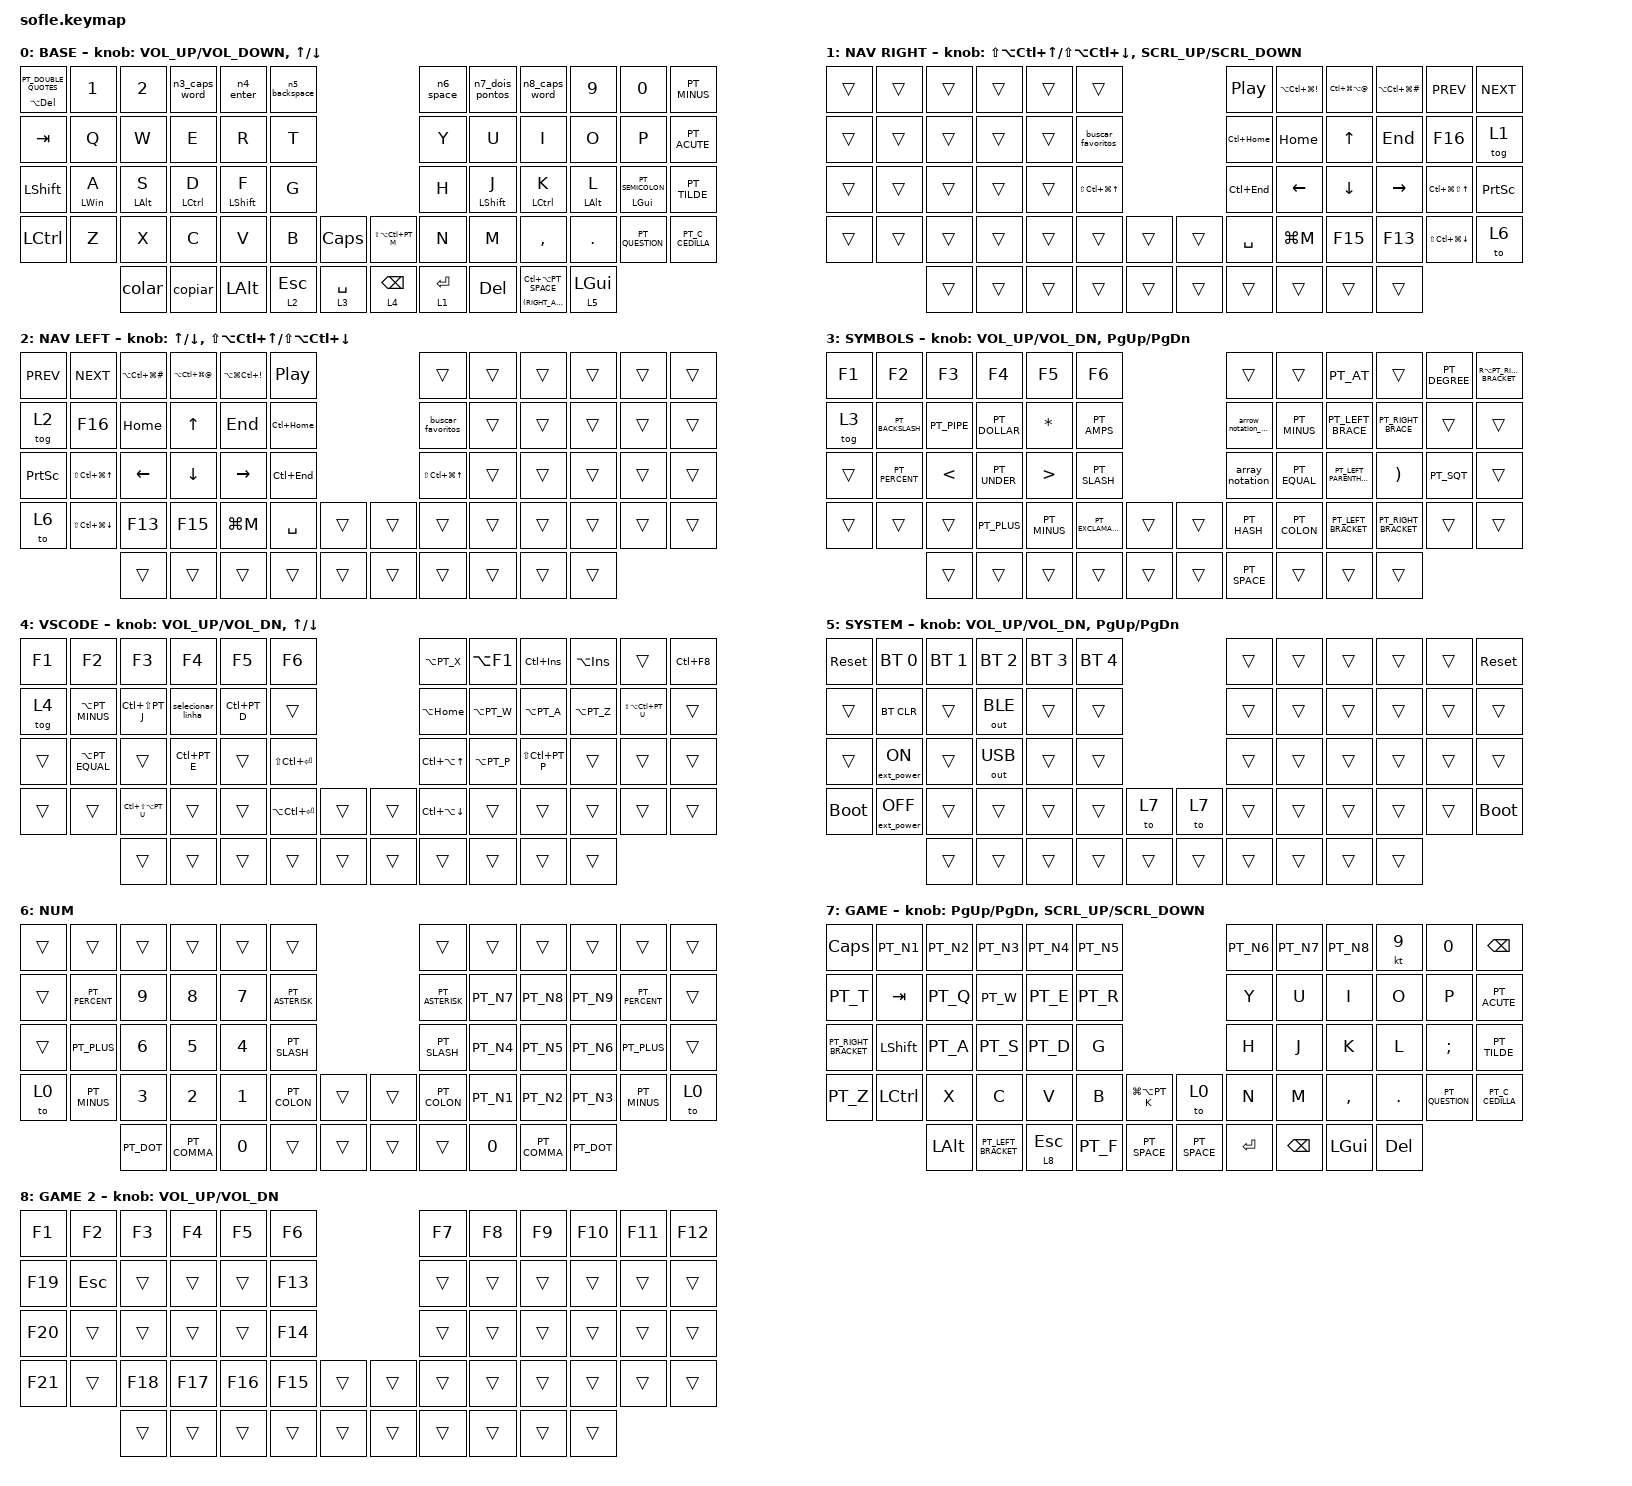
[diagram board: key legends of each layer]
#define ZMK_POINTING_DEFAULT_SCRL_VAL 100

#include <behaviors.dtsi>
#include <dt-bindings/zmk/bt.h>
#include <dt-bindings/zmk/ext_power.h>
#include <dt-bindings/zmk/keys.h>
#include <dt-bindings/zmk/outputs.h>
#include <dt-bindings/zmk/pointing.h>
#include "keys_pt_abnt2.h"

&caps_word {
    continue-list = <
        UNDERSCORE
        BACKSPACE
        DELETE
        MINUS
        SLASH
        SEMICOLON
    >;
};

#define BASE       0
#define NAV_RIGHT  1
#define NAV_LEFT   2
#define SYMBOLS    3
#define VSCODE_OS  4
#define SYSTEM     5
#define NUM        6
#define GAME       7
#define GAME_2     8

/ {
    combos {
        compatible = "zmk,combos";

        combo_studio_unlock {
            timeout-ms = <50>;
            key-positions = <0 11>;
            bindings = <&studio_unlock>;
        };
    };

    macros {
        arrow_notation_php: arrow_dot_php {
            compatible = "zmk,behavior-macro";
            #binding-cells = <0>;
            bindings = <&kp PT_MINUS &kp PT_GREATER_THAN>;
            label = "ARROW_DOT_PHP";
        };

        array_notation: array {
            compatible = "zmk,behavior-macro";
            #binding-cells = <0>;
            bindings = <&kp PT_EQUAL &kp PT_GREATER_THAN>;
            label = "ARRAY";
        };

        buscar_favoritos: buscar_favoritos {
            compatible = "zmk,behavior-macro";
            #binding-cells = <0>;
            bindings = <&kp LC(PT_T) &kp PT_ASTERISK &kp SPACE>;
            label = "BUSCAR_FAVORITOS";
        };

        selecionar_linha: selecionar_linha {
            compatible = "zmk,behavior-macro";
            #binding-cells = <0>;
            bindings = <&kp HOME &kp LS(END)>;
            label = "SELECIONAR_LINHA";
        };
    };

    behaviors {
        copiar: copiar {
            compatible = "zmk,behavior-tap-dance";
            label = "COPIAR";
            #binding-cells = <0>;
            bindings = <&kp LC(PT_C)>, <&kp LC(LS(PT_C))>;

            tapping-term-ms = <300>;
        };

        lt_c: layer_tap_custom {
            compatible = "zmk,behavior-hold-tap";
            label = "LAYER_TAP_CUSTOM";
            #binding-cells = <2>;
            tapping-term-ms = <300>;
            quick-tap-ms = <150>;
            flavor = "balanced";
            bindings = <&mo>, <&kp>;
        };

        hm: homerow_mods {
            compatible = "zmk,behavior-hold-tap";
            label = "HOMEROW_MODS";
            #binding-cells = <2>;
            tapping-term-ms = <240>;
            quick-tap-ms = <150>;
            require-prior-idle-ms = <125>;
            flavor = "tap-preferred";
            bindings = <&kp>, <&kp>;
        };

        hml: homerow_mods_left {
            compatible = "zmk,behavior-hold-tap";
            #binding-cells = <2>;
            bindings = <&kp>, <&kp>;

            flavor = "balanced";
            tapping-term-ms = <260>;
            quick-tap-ms = <175>;
            require-prior-idle-ms = <100>;
            hold-trigger-key-positions = <
                 6  7  8  9 10 11
                18 19 20 21 22 23
                30 31 32 33 34 35
                43 44 45 46 47 48 49
                55 56 57 58 59
            >;

            hold-trigger-on-release;
        };

        hmr: homerow_mods_right {
            compatible = "zmk,behavior-hold-tap";
            #binding-cells = <2>;
            bindings = <&kp>, <&kp>;

            flavor = "balanced";
            tapping-term-ms = <260>;
            quick-tap-ms = <175>;
            require-prior-idle-ms = <100>;
            hold-trigger-key-positions = <
                 0  1  2  3  4  5
                12 13 14 15 16 17
                24 25 26 27 28 29
                36 37 38 39 40 41 42
                50 51 52 53 54
            >;

            hold-trigger-on-release;
        };

        hold_tap: hold_tap {
            compatible = "zmk,behavior-hold-tap";
            label = "HOLD_TAP";
            bindings = <&kp>, <&kp>;

            #binding-cells = <2>;
            tapping-term-ms = <250>;
            quick-tap-ms = <150>;
            require-prior-idle-ms = <125>;
            flavor = "tap-preferred";
        };

        colar: colar {
            compatible = "zmk,behavior-tap-dance";
            label = "COLAR";
            #binding-cells = <0>;
            bindings = <&kp LC(PT_V)>, <&kp LC(LS(PT_V))>;

            tapping-term-ms = <300>;
        };

        n7_dois_pontos: n7_dois_pontos {
            compatible = "zmk,behavior-tap-dance";
            label = "N7_DOIS_PONTOS";
            #binding-cells = <0>;
            bindings = <&kp N7>, <&kp PT_COLON>;
        };

        altgr_tap: altgr_tap {
            compatible = "zmk,behavior-hold-tap";
            #binding-cells = <2>;
            flavor = "hold-preferred";
            tapping-term-ms = <200>;
            quick-tap-ms = <0>;
            bindings = <&kp>, <&kp>;
        };

        tap_hold_caps_word: tap_hold_caps_word {
            compatible = "zmk,behavior-hold-tap";
            label = "TAP_HOLD_CAPS_WORD";
            bindings = <&caps_word>, <&kp>;

            #binding-cells = <2>;
            tapping-term-ms = <210>;
            quick-tap-ms = <175>;
            require-prior-idle-ms = <130>;
            flavor = "tap-preferred";
        };

        inc_dec_msc: inc_dec_msc {
            compatible = "zmk,behavior-sensor-rotate-var";
            #sensor-binding-cells = <2>;
            bindings = <&msc>, <&msc>;

            tap-ms = <20>;
        };

        n4_enter: n4_enter {
            compatible = "zmk,behavior-tap-dance";
            label = "N4_ENTER";
            #binding-cells = <0>;
            bindings = <&kp N4>, <&kp ENTER>;
        };

        n6_space: n6_space {
            compatible = "zmk,behavior-tap-dance";
            label = "N6_SPACE";
            #binding-cells = <0>;
            bindings = <&kp N6>, <&kp SPACE>;
        };

        n3_caps_word: n3_caps_word {
            compatible = "zmk,behavior-tap-dance";
            #binding-cells = <0>;
            tapping-term-ms = <200>;
            bindings = <&kp N3>, <&caps_word>;
        };

        n8_caps_word: n8_caps_word {
            compatible = "zmk,behavior-tap-dance";
            #binding-cells = <0>;
            tapping-term-ms = <200>;
            bindings = <&kp N8>, <&caps_word>;
        };

        n5_backspace: n5_backspace {
            compatible = "zmk,behavior-tap-dance";
            label = "N5_BACKSPACE";
            #binding-cells = <0>;
            bindings = <&kp N5>, <&kp BACKSPACE>;
        };
    };

    keymap {
        compatible = "zmk,keymap";

        default_layer {
            display-name = "BASE";

            // LAYER 0: BASE com Home Row Mods
            // Mão Esquerda (Segurar): A=Super, S=Alt, D=Ctrl, F=Shift
            // Mão Direita (Segurar): J=Shift, K=Ctrl, L=Alt, ;=Super

            bindings = <
&hold_tap LA(DELETE) PT_DOUBLE_QUOTES  &kp N1       &kp N2       &n3_caps_word  &n4_enter      &n5_backspace                                        &n6_space    &n7_dois_pontos    &n8_caps_word                            &kp N9           &kp N0                  &kp PT_MINUS
&kp TAB                                &kp Q        &kp W        &kp E          &kp R          &kp T                                                &kp Y        &kp U              &kp I                                    &kp O            &kp P                   &kp PT_ACUTE
&kp LEFT_SHIFT                         &hml LWIN A  &hml LALT S  &hml LCTRL D   &hml LSHIFT F  &kp G                                                &kp H        &hmr LEFT_SHIFT J  &hmr LCTRL K                             &hmr LEFT_ALT L  &hmr LGUI PT_SEMICOLON  &kp PT_TILDE
&kp LEFT_CONTROL                       &kp Z        &kp X        &kp C          &kp V          &kp B          &kp CAPSLOCK    &kp LS(LA(LC(PT_M)))  &kp N        &kp M              &kp COMMA                                &kp DOT          &kp PT_QUESTION         &kp PT_C_CEDILLA
                                                    &colar       &copiar        &kp LEFT_ALT   &lt 2 ESC      &lt 3 SPACE     &lt 4 BACKSPACE       &lt 1 ENTER  &kp DELETE         &altgr_tap (RIGHT_ALT) LC(LA(PT_SPACE))  &lt 5 LEFT_GUI
            >;

            sensor-bindings =
                <&inc_dec_kp K_VOL_UP K_VOLUME_DOWN>,
                <&inc_dec_kp UP DOWN>;
        };

        nav_right {
            display-name = "NAV RIGHT";
            label = "NAV RIGHT";
            bindings = <
&trans  &trans  &trans  &trans  &trans  &trans                                &kp C_PLAY_PAUSE  &kp LA(LC(LG(EXCLAMATION)))  &kp LC(LG(LA(AT_SIGN)))  &kp LA(LC(LG(POUND)))  &kp C_PREV            &kp C_NEXT
&trans  &trans  &trans  &trans  &trans  &buscar_favoritos                     &kp LC(HOME)      &kp HOME                     &kp UP                   &kp END                &kp F16               &tog 1
&trans  &trans  &trans  &trans  &trans  &kp LS(LC(LG(UP)))                    &kp LC(END)       &kp LEFT_ARROW               &kp DOWN                 &kp RIGHT              &kp LC(LG(LS(UP)))    &kp PRINTSCREEN
&trans  &trans  &trans  &trans  &trans  &trans              &trans    &trans  &kp SPACE         &kp LG(M)                    &kp F15                  &kp F13                &kp LS(LC(LG(DOWN)))  &to 6
                &trans  &trans  &trans  &trans              &trans    &trans  &trans            &trans                       &trans                   &trans
            >;

            sensor-bindings =
                <&inc_dec_kp LS(LA(LC(UP))) LS(LA(LC(DOWN)))>,
                <&inc_dec_msc SCRL_UP SCRL_DOWN>;
        };

        nav_left {
            display-name = "NAV LEFT";
            label = "NAV LEFT";
            bindings = <
&kp C_PREV       &kp C_NEXT            &kp LA(LC(LG(POUND)))  &kp LA(LC(LG(AT_SIGN)))  &kp LA(LG(LC(EXCLAMATION)))  &kp C_PP                        &trans              &trans  &trans  &trans  &trans  &trans
&tog 2           &kp F16               &kp HOME               &kp UP                   &kp END                      &kp LC(HOME)                    &buscar_favoritos   &trans  &trans  &trans  &trans  &trans
&kp PRINTSCREEN  &kp LS(LC(LG(UP)))    &kp LEFT               &kp DOWN                 &kp RIGHT                    &kp LC(END)                     &kp LS(LC(LG(UP)))  &trans  &trans  &trans  &trans  &trans
&to 6            &kp LS(LC(LG(DOWN)))  &kp F13                &kp F15                  &kp LG(M)                    &kp SPACE     &trans    &trans  &trans              &trans  &trans  &trans  &trans  &trans
                                       &trans                 &trans                   &trans                       &trans        &trans    &trans  &trans              &trans  &trans  &trans
            >;

            sensor-bindings =
                <&inc_dec_kp UP DOWN>,
                <&inc_dec_kp LS(LA(LC(UP))) LS(LA(LC(DOWN)))>;
        };

        symbols {
            display-name = "SYMBOLS";
            bindings = <
&kp F1  &kp F2            &kp F3       &kp F4         &kp F5        &kp F6                                &trans               &trans        &kp PT_AT                &trans                 &kp PT_DEGREE  &kp RA(PT_RIGHT_BRACKET)
&tog 3  &kp PT_BACKSLASH  &kp PT_PIPE  &kp PT_DOLLAR  &kp STAR      &kp PT_AMPS                           &arrow_notation_php  &kp PT_MINUS  &kp PT_LEFT_BRACE        &kp PT_RIGHT_BRACE     &trans         &trans
&trans  &kp PT_PERCENT    &kp LT       &kp PT_UNDER   &kp GT        &kp PT_SLASH                          &array_notation      &kp PT_EQUAL  &kp PT_LEFT_PARENTHESIS  &kp RIGHT_PARENTHESIS  &kp PT_SQT     &trans
&trans  &trans            &trans       &kp PT_PLUS    &kp PT_MINUS  &kp PT_EXCLAMATION  &trans    &trans  &kp PT_HASH          &kp PT_COLON  &kp PT_LEFT_BRACKET      &kp PT_RIGHT_BRACKET   &trans         &trans
                          &trans       &trans         &trans        &trans              &trans    &trans  &kp PT_SPACE         &trans        &trans                   &trans
            >;

            sensor-bindings =
                <&inc_dec_kp C_VOL_UP C_VOL_DN>,
                <&inc_dec_kp PAGE_UP PAGE_DOWN>;
        };

        vscode {
            display-name = "VSCODE";
            bindings = <
&kp F1  &kp F2            &kp F3                &kp F4             &kp F5        &kp F6                               &kp LA(PT_X)      &kp LA(F1)    &kp LC(INSERT)    &kp LA(INSERT)  &trans                &kp LC(F8)
&tog 4  &kp LA(PT_MINUS)  &kp LC(LS(PT_J))      &selecionar_linha  &kp LC(PT_D)  &trans                               &kp LA(HOME)      &kp LA(PT_W)  &kp LA(PT_A)      &kp LA(PT_Z)    &kp LS(LA(LC(PT_U)))  &trans
&trans  &kp LA(PT_EQUAL)  &trans                &kp LC(PT_E)       &trans        &kp LS(LC(ENTER))                    &kp LC(LA(UP))    &kp LA(PT_P)  &kp LS(LC(PT_P))  &trans          &trans                &trans
&trans  &trans            &kp LC(LS(LA(PT_U)))  &trans             &trans        &kp LA(LC(ENTER))  &trans    &trans  &kp LC(LA(DOWN))  &trans        &trans            &trans          &trans                &trans
                          &trans                &trans             &trans        &trans             &trans    &trans  &trans            &trans        &trans            &trans
            >;

            sensor-bindings =
                <&inc_dec_kp K_VOL_UP K_VOL_DN>,
                <&inc_dec_kp UP DOWN>;
        };

        system {
            display-name = "SYSTEM";
            bindings = <
&sys_reset   &bt BT_SEL 0       &bt BT_SEL 1  &bt BT_SEL 2  &bt BT_SEL 3  &bt BT_SEL 4                    &trans  &trans  &trans  &trans  &trans  &sys_reset
&trans       &bt BT_CLR         &trans        &out OUT_BLE  &trans        &trans                          &trans  &trans  &trans  &trans  &trans  &trans
&trans       &ext_power EP_ON   &trans        &out OUT_USB  &trans        &trans                          &trans  &trans  &trans  &trans  &trans  &trans
&bootloader  &ext_power EP_OFF  &trans        &trans        &trans        &trans        &to 7     &to 7   &trans  &trans  &trans  &trans  &trans  &bootloader
                                &trans        &trans        &trans        &trans        &trans    &trans  &trans  &trans  &trans  &trans
            >;

            sensor-bindings = <&inc_dec_kp C_VOL_UP C_VOL_DN &inc_dec_kp PG_UP PG_DN>;
        };

        num {
            bindings = <
&trans  &trans          &trans      &trans        &trans  &trans                             &trans           &trans     &trans        &trans      &trans          &trans
&trans  &kp PT_PERCENT  &kp N9      &kp N8        &kp N7  &kp PT_ASTERISK                    &kp PT_ASTERISK  &kp PT_N7  &kp PT_N8     &kp PT_N9   &kp PT_PERCENT  &trans
&trans  &kp PT_PLUS     &kp N6      &kp N5        &kp N4  &kp PT_SLASH                       &kp PT_SLASH     &kp PT_N4  &kp PT_N5     &kp PT_N6   &kp PT_PLUS     &trans
&to 0   &kp PT_MINUS    &kp N3      &kp N2        &kp N1  &kp PT_COLON     &trans    &trans  &kp PT_COLON     &kp PT_N1  &kp PT_N2     &kp PT_N3   &kp PT_MINUS    &to 0
                        &kp PT_DOT  &kp PT_COMMA  &kp N0  &trans           &trans    &trans  &trans           &kp N0     &kp PT_COMMA  &kp PT_DOT
            >;

            label = "NUM";
        };

        game {
            bindings = <
&kp CAPSLOCK          &kp PT_N1       &kp PT_N2     &kp PT_N3            &kp PT_N4  &kp PT_N5                                    &kp PT_N6  &kp PT_N7      &kp PT_N8  &kt N9      &kp N0           &kp BACKSPACE
&kp PT_T              &kp TAB         &kp PT_Q      &kp PT_W             &kp PT_E   &kp PT_R                                     &kp Y      &kp U          &kp I      &kp O       &kp P            &kp PT_ACUTE
&kp PT_RIGHT_BRACKET  &kp LEFT_SHIFT  &kp PT_A      &kp PT_S             &kp PT_D   &kp G                                        &kp H      &kp J          &kp K      &kp L       &kp SEMI         &kp PT_TILDE
&kp PT_Z              &kp LCTRL       &kp X         &kp C                &kp V      &kp B      &kp LG(LA(PT_K))    &to 0         &kp N      &kp M          &kp COMMA  &kp DOT     &kp PT_QUESTION  &kp PT_C_CEDILLA
                                      &kp LEFT_ALT  &kp PT_LEFT_BRACKET  &lt 8 ESC  &kp PT_F   &kp PT_SPACE        &kp PT_SPACE  &kp ENTER  &kp BACKSPACE  &kp LGUI   &kp DELETE
            >;

            label = "GAME";
            sensor-bindings =
                <&inc_dec_kp PAGE_UP PAGE_DOWN>,
                <&inc_dec_msc SCRL_UP SCRL_DOWN>;
        };

        game_2 {
            bindings = <
&kp F1   &kp F2      &kp F3   &kp F4   &kp F5   &kp F6                     &kp F7  &kp F8  &kp F9  &kp F10  &kp F11  &kp F12
&kp F19  &kp ESCAPE  &trans   &trans   &trans   &kp F13                    &trans  &trans  &trans  &trans   &trans   &trans
&kp F20  &trans      &trans   &trans   &trans   &kp F14                    &trans  &trans  &trans  &trans   &trans   &trans
&kp F21  &trans      &kp F18  &kp F17  &kp F16  &kp F15  &trans    &trans  &trans  &trans  &trans  &trans   &trans   &trans
                     &trans   &trans   &trans   &trans   &trans    &trans  &trans  &trans  &trans  &trans
            >;

            label = "GAME 2";
            sensor-bindings = <&inc_dec_kp C_VOL_UP C_VOL_DN>;
        };
    };
};
